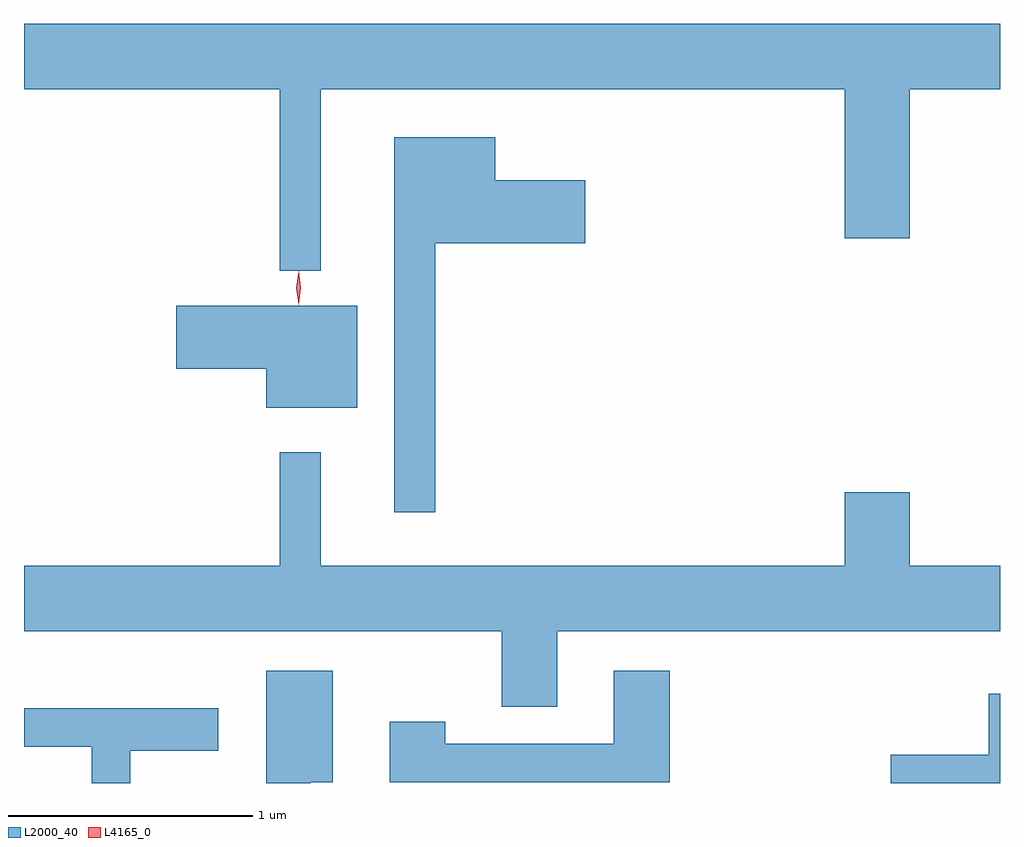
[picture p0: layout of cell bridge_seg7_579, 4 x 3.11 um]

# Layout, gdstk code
import gdstk
lib = gdstk.Library(unit=1e-6, precision=1e-09)
def P(c, l, *ps):  # polygons
    for p in ps: c.add(gdstk.Polygon(p, *l))
L2000_40 = (2000, 40)
L4165_0 = (4165, 0)

bridge_seg7_579 = lib.new_cell('bridge_seg7_579')
P(bridge_seg7_579, L2000_40, [(692.449,1798.676),(694.596,1798.676),(694.596,1798.066),(694.864,1798.066),(694.864,1798.676),(695.233,1798.676),(695.233,1798.944),(691.233,1798.944),(691.233,1798.676),(692.281,1798.676),(692.281,1797.933),(692.449,1797.933)],
  [(692.919,1798.046),(693.534,1798.046),(693.534,1798.304),(693.164,1798.304),(693.164,1798.479),(692.751,1798.479),(692.751,1796.943),(692.919,1796.943)],
  [(692.599,1797.789),(691.856,1797.789),(691.856,1797.531),(692.226,1797.531),(692.226,1797.371),(692.599,1797.371)],
  [(693.419,1796.456),(695.233,1796.456),(695.233,1796.724),(694.864,1796.724),(694.864,1797.024),(694.596,1797.024),(694.596,1796.724),(692.449,1796.724),(692.449,1797.188),(692.281,1797.188),(692.281,1796.724),(691.233,1796.724),(691.233,1796.456),(693.191,1796.456),(693.191,1796.146),(693.419,1796.146)],
  [(693.879,1796.294),(693.651,1796.294),(693.651,1795.994),(692.959,1795.994),(692.959,1796.084),(692.731,1796.084),(692.731,1795.836),(693.879,1795.836)],
  [(692.409,1795.836),(692.499,1795.836),(692.499,1796.294),(692.226,1796.294),(692.226,1795.833),(692.409,1795.833)],
  [(695.233,1796.199),(695.186,1796.199),(695.186,1795.949),(694.786,1795.949),(694.786,1795.833),(695.233,1795.833)],
  [(691.669,1795.966),(692.029,1795.966),(692.029,1796.139),(691.233,1796.139),(691.233,1795.981),(691.511,1795.981),(691.511,1795.833),(691.669,1795.833)])
P(bridge_seg7_579, L4165_0, [(692.358,1797.794),(692.358,1797.794),(692.348,1797.862),(692.358,1797.93),(692.358,1797.93),(692.359,1797.93),(692.368,1797.862),(692.359,1797.794)],
  [(692.358,1797.8),(692.358,1797.8),(692.348,1797.863),(692.358,1797.926),(692.358,1797.927),(692.359,1797.926),(692.368,1797.863),(692.359,1797.8)])

lib.write_gds('bridge_seg7_579.gds')
